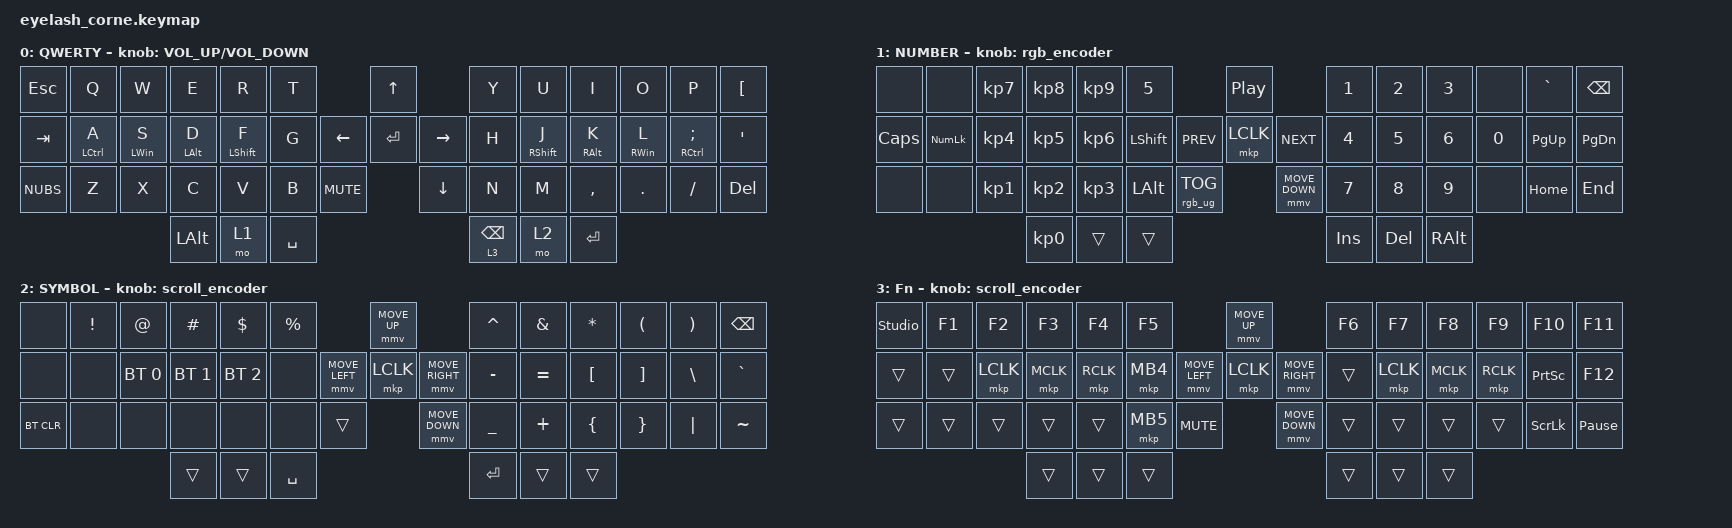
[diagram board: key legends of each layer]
#define ZMK_POINTING_DEFAULT_MOVE_VAL 1200  // 600
#define ZMK_POINTING_DEFAULT_SCRL_VAL 25   // 10

#include <input/processors.dtsi>
#include <zephyr/dt-bindings/input/input-event-codes.h>
#include <behaviors.dtsi>
#include <dt-bindings/zmk/bt.h>
#include <dt-bindings/zmk/keys.h>
#include <dt-bindings/zmk/pointing.h>
#include <dt-bindings/zmk/rgb.h>

&mmv_input_listener { input-processors = <&zip_xy_scaler 2 1>; };

&msc_input_listener { input-processors = <&zip_scroll_scaler 2 1>; };

&msc {
    acceleration-exponent = <1>;      // 0
    time-to-max-speed-ms = <100>;       // 300
    delay-ms = <0>;                   // 0
};

&mmv {
    time-to-max-speed-ms = <500>;
    acceleration-exponent = <1>;
    trigger-period-ms = <16>;
};

&soft_off { hold-time-ms = <2000>; };

/ {
    behaviors {
        td0: td0 {
            compatible = "zmk,behavior-tap-dance";
            display-name = "Shift/Caps Lock Tap Dance";
            #binding-cells = <0>;
            bindings = <&kp LEFT_SHIFT>, <&kp CAPS>;
        };

        hml: hml {
            compatible = "zmk,behavior-hold-tap";
            label = "home_row_mod_left";
            bindings = <&kp>, <&kp>;

            #binding-cells = <2>;
            tapping-term-ms = <200>;
            quick-tap-ms = <150>;
            require-prior-idle-ms = <75>;
            flavor = "balanced";
            hold-trigger-on-release;
            hold-trigger-key-positions = <7 22 36 37 23 8 9 24 38 39 25 10 11 26 40 41 27 12 47 46 45>;
        };

        hmr: hmr {
            compatible = "zmk,behavior-hold-tap";
            label = "home_row_mod_right";
            bindings = <&kp>, <&kp>;

            #binding-cells = <2>;
            tapping-term-ms = <280>;
            quick-tap-ms = <150>;
            require-prior-idle-ms = <75>;
            flavor = "balanced";
            hold-trigger-key-positions = <0 1 2 3 4 5 13 14 15 16 17 18 28 29 30 31 32 33 42 43 44>;
            hold-trigger-on-release;
        };
    };

    rgb_encoder: rgb_encoder {
        compatible = "zmk,behavior-sensor-rotate";
        #sensor-binding-cells = <0>;
        bindings = <&rgb_ug RGB_BRI>, <&rgb_ug RGB_BRD>;
    };

    scroll_encoder: scroll_encoder {
        compatible = "zmk,behavior-sensor-rotate";
        #sensor-binding-cells = <0>;
        bindings = <&msc SCRL_DOWN>, <&msc SCRL_UP>;

        tap-ms = <100>;
    };

    combos {
        compatible = "zmk,combos";

        softoff {
            bindings = <&soft_off>;
            key-positions = <1 15 29>;
        };
    };

    keymap {
        compatible = "zmk,keymap";

        default_layer {
            display-name = "QWERTY";
            bindings = <
&kp ESC   &kp Q                &kp W            &kp E            &kp R              &kp T                                    &kp UP_ARROW                   &kp Y            &kp U               &kp I             &kp O             &kp P            &kp LEFT_BRACKET
&kp TAB   &hml LEFT_CONTROL A  &hml LEFT_WIN S  &hml LEFT_ALT D  &hml LEFT_SHIFT F  &kp G                    &kp LEFT_ARROW  &kp ENTER     &kp RIGHT_ARROW  &kp H            &hmr RIGHT_SHIFT J  &hmr RIGHT_ALT K  &hmr RIGHT_WIN L  &hmr RCTRL SEMI  &kp SQT
&kp NUBS  &kp Z                &kp X            &kp C            &kp V              &kp B      &kp C_MUTE                    &kp DOWN                       &kp N            &kp M               &kp COMMA         &kp DOT           &kp FSLH         &kp DEL
                                                &kp LEFT_ALT     &mo 1              &kp SPACE                                                               &lt 3 BACKSPACE  &mo 2               &kp ENTER
            >;

            sensor-bindings = <&inc_dec_kp C_VOLUME_UP C_VOLUME_DOWN>;
        };

        lower_layer {
            display-name = "NUMBER";
            bindings = <
&none         &none       &kp KP_NUMBER_7  &kp KP_NUMBER_8  &kp KP_NUMBER_9  &kp N5                                         &kp C_PLAY_PAUSE              &kp NUMBER_1  &kp NUMBER_2  &kp NUMBER_3   &none   &kp GRAVE  &kp BSPC
&kp CAPSLOCK  &kp KP_NUM  &kp KP_NUMBER_4  &kp KP_NUMBER_5  &kp KP_NUMBER_6  &kp LEFT_SHIFT                     &kp C_PREV  &mkp LCLK         &kp C_NEXT  &kp NUMBER_4  &kp N5        &kp N6         &kp N0  &kp PG_UP  &kp PG_DN
&none         &none       &kp KP_NUMBER_1  &kp KP_NUMBER_2  &kp KP_NUMBER_3  &kp LEFT_ALT    &rgb_ug RGB_TOG                &mmv MOVE_DOWN                &kp N7        &kp N8        &kp N9         &none   &kp HOME   &kp END
                                           &kp KP_NUMBER_0  &trans           &trans                                                                       &kp INS       &kp DEL       &kp RIGHT_ALT
            >;

            sensor-bindings = <&rgb_encoder>;
        };

        raise_layer {
            display-name = "SYMBOL";
            bindings = <
&none       &kp EXCL  &kp AT        &kp HASH      &kp DLLR      &kp PRCNT                            &mmv MOVE_UP                     &kp CARET  &kp AMPS   &kp ASTRK  &kp LPAR  &kp RPAR  &kp BSPC
&none       &none     &bt BT_SEL 0  &bt BT_SEL 1  &bt BT_SEL 2  &none                &mmv MOVE_LEFT  &mkp LCLK       &mmv MOVE_RIGHT  &kp MINUS  &kp EQUAL  &kp LBKT   &kp RBKT  &kp BSLH  &kp GRAVE
&bt BT_CLR  &none     &none         &none         &none         &none      &trans                    &mmv MOVE_DOWN                   &kp UNDER  &kp PLUS   &kp LBRC   &kp RBRC  &kp PIPE  &kp TILDE
                                    &trans        &trans        &kp SPACE                                                             &kp RET    &trans     &trans
            >;

            sensor-bindings = <&scroll_encoder>;
        };

        layer_3 {
            display-name = "Fn";
            bindings = <
&studio_unlock  &kp F1  &kp F2     &kp F3     &kp F4     &kp F5                                  &mmv MOVE_UP                     &kp F6  &kp F7     &kp F8     &kp F9     &kp F10          &kp F11
&trans          &trans  &mkp LCLK  &mkp MCLK  &mkp RCLK  &mkp MB4                &mmv MOVE_LEFT  &mkp LCLK       &mmv MOVE_RIGHT  &trans  &mkp LCLK  &mkp MCLK  &mkp RCLK  &kp PRINTSCREEN  &kp F12
&trans          &trans  &trans     &trans     &trans     &mkp MB5  &kp C_MUTE                    &mmv MOVE_DOWN                   &trans  &trans     &trans     &trans     &kp SCROLLLOCK   &kp PAUSE_BREAK
                                   &trans     &trans     &trans                                                                   &trans  &trans     &trans
            >;

            sensor-bindings = <&scroll_encoder>;
        };
    };
};
